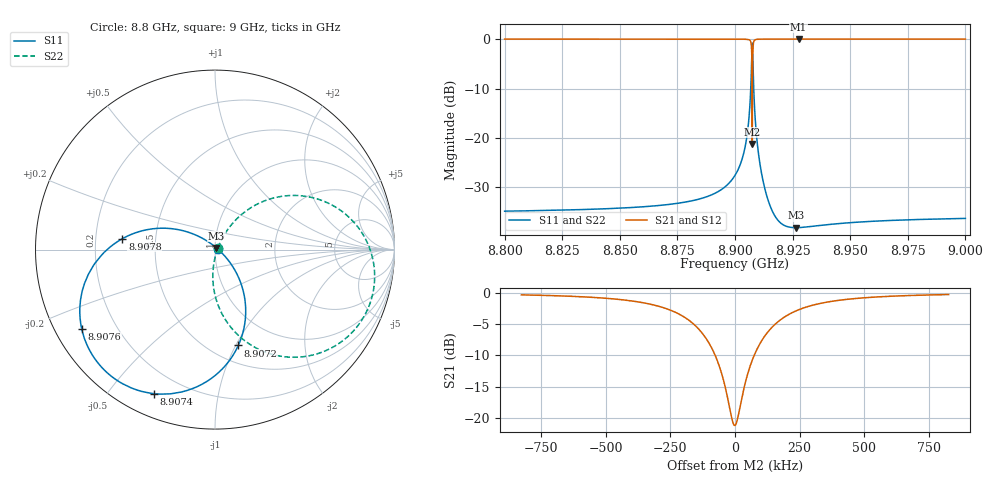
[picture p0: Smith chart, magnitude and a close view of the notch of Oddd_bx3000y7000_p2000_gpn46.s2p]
! Sonnet Data File
! From: emgraph Version : 16.52
! From Project: Resonator2_cp
! Data is De-embedded
! Data File Written: 10/06/2017 09:05:51
!< HDATE 10/05/2017 15:28:06
!< MDATE 10/05/2017 15:28:06
!< PARAMS
!< gap = 46.0
!< Length = 400.0
!< Pwid1 = 2000.0
!< Pwid2 = 2000.0
!< END PARAMS
# GHZ S MA R 35.97000
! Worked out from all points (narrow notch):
!   1595 points, 8.8 GHz to 9 GHz, reference 35.97 ohm
!   highest |S21| = 0.00 dB at 8.9276 GHz (marker M1); lowest = -21.2 dB at 8.9075 GHz (marker M2)
!   notch at M2: 21.2 dB deep, 139 kHz wide at half that depth
!   lowest |S11| = -38.1 dB at 8.9263 GHz (marker M3), VSWR 1.03, Z = 36.5 + j0.692 ohm
!   |S11| at or under -10 dB: start of sweep to 8.9068 GHz; 8.9081 GHz to end of sweep
!   |S22| runs from -38.1 to -0.8 dB; largest |S21 - S12| = 0
!   S11 on the Smith chart (normalised r, x): 8.8 GHz: 1.04, +0.00; 8.9072 GHz: 0.67, -1.02; 8.9074 GHz: 0.10, -0.66; 8.9076 GHz: 0.08, -0.27; 8.9078 GHz: 0.32, +0.05; 9 GHz: 1.03, +0.01
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8.8  0.01823 2.8  0.9998 -74.5  0.9998 -74.5  0.01823 28.2
!< P1 F=8.8 Eeff=(5.36817953 -2.3731e-5) Z0=(35.9853883 8.0522e-5) R=0.0 C=0.0
!< P2 F=8.8 Eeff=(5.36817953 -2.3731e-5) Z0=(35.9853883 8.0522e-5) R=0.0 C=0.0
8.8334  0.01891 0.5  0.9998 -74.8  0.9998 -74.8  0.01891 29.8
8.8668  0.02078 -4.3  0.9998 -75.3  0.9998 -75.3  0.02079 33.8
8.9  0.04195 -25.6  0.999 -76.9  0.999 -76.9  0.042 51.6
8.90499  0.09745 -39.1  0.9945 -80.2  0.9945 -80.2  0.09763 57.9
8.906596  0.241 -52.8  0.9653 -88.6  0.9653 -88.6  0.2415 53.1
8.907182  0.5496 -76.3  0.8009 -108.0  0.8009 -108.0  0.5509 33.2
8.907335  0.7487 -95.0  0.5771 -122.7  0.5771 -122.7  0.7504 15.5
8.907427  0.8715 -112.9  0.308 -131.9  0.308 -131.9  0.8736 -1.9
8.907502  0.912 -130.6  0.08696 -73.1  0.08696 -73.1  0.9141 -19.0
8.90758  0.8638 -149.3  0.3293 -17.9  0.3293 -17.9  0.8659 -37.2
8.907678  0.7268 -168.1  0.6065 -28.4  0.6065 -28.4  0.7285 -55.3
8.907835  0.5197 173.3  0.8221 -43.4  0.8221 -43.4  0.5209 -72.9
8.908414  0.2183 150.3  0.9707 -62.1  0.9707 -62.1  0.2188 -91.8
8.909631  0.09016 137.4  0.9949 -69.6  0.9949 -69.6  0.09042 -95.3
8.913238  0.02894 115.9  0.9994 -73.2  0.9994 -73.2  0.02905 -81.8
8.9188  0.01459 81.7  0.9999 -74.3  0.9999 -74.3  0.01465 -50.2
8.926346  0.01242 49.6  0.9999 -74.8  0.9999 -74.8  0.01244 -19.3
8.9276  0.01244 46.3  0.9999 -74.9  0.9999 -74.9  0.01246 -16.0
8.9334  0.0128 35.3  0.9999 -75.1  0.9999 -75.1  0.01281 -5.4
8.9668  0.01466 16.5  0.9999 -75.6  0.9999 -75.6  0.01466 12.2
9  0.01541 12.0  0.9999 -76.0  0.9999 -76.0  0.01541 16.1
